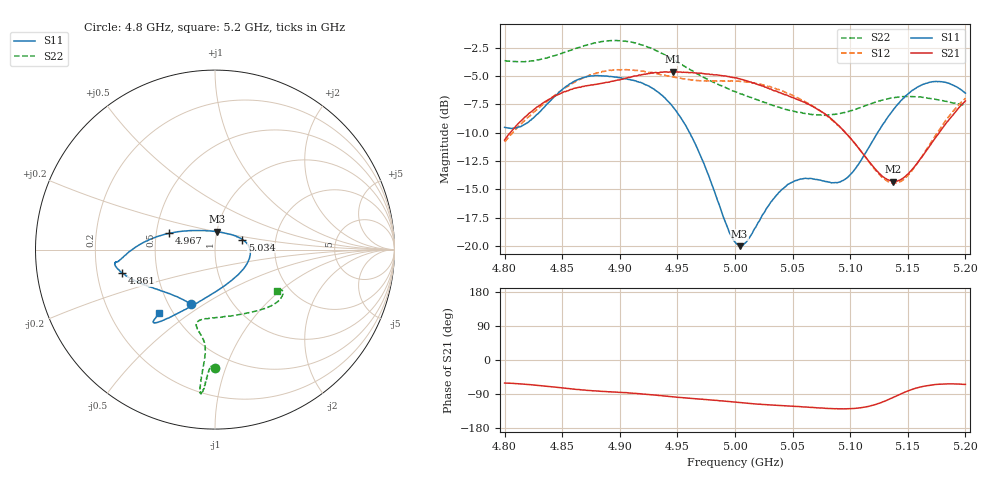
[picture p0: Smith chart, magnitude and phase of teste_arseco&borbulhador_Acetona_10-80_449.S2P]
! Network Analyzer HP8722D
! Hewlett-Packard
! Data name: Linha & Wilkinson
! Saver's name: Rodrigo Anjos
! Comments: Teste da utilização de aquisição
! continua pelo VNA HP8722D
! Time and date: 17/4/2025 18:06
!  Frequency  S11  S21  S12  S22
# HZ  S  MA R 50
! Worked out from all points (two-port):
!   401 points, 4.8 GHz to 5.2 GHz, reference 50 ohm
!   highest |S21| = -4.64 dB at 4.946 GHz (marker M1); lowest = -14.3 dB at 5.137 GHz (marker M2)
!   |S21| within 3 dB of the highest: 4.83 GHz to 5.066 GHz (236.4 MHz wide, 4.78 % of centre); 5.195841 GHz to end of sweep
!   lowest |S11| = -20.0 dB at 5.004 GHz (marker M3), VSWR 1.22, Z = 50 + j10 ohm
!   |S11| at or under -10 dB: 4.961 GHz to 5.124 GHz (163.2 MHz wide, 3.24 % of centre)
!   |S22| runs from -8.5 to -1.9 dB; largest |S21 - S12| = 0.88
!   S11 on the Smith chart (normalised r, x): 4.8 GHz: 0.64, -0.44; 4.861 GHz: 0.31, -0.11; 4.967 GHz: 0.58, +0.11; 5.034 GHz: 1.35, +0.16; 5.2 GHz: 0.42, -0.39
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4.8e9  0.3335 -113.7  0.2932 -60.9  0.2878 -175.0  0.6572 -90.2
4.819e9  0.3478 -133.8  0.3753 -64.3  0.3633 -173.9  0.6533 -91.8
4.861e9  0.5349 -166.0  0.4965 -77.2  0.5277 -176.9  0.7392 -94.2
4.867e9  0.5501 -168.3  0.5045 -79.0  0.5471 -178.1  0.7581 -94.3
4.899e9  0.5528 -172.8  0.5394 -85.3  0.5991 175.3  0.8044 -95.7
4.934e9  0.474 -178.9  0.581 -93.8  0.5744 171.7  0.7168 -96.0
4.946e9  0.4117 175.4  0.5864 -97.1  0.5566 171.8  0.6654 -95.8
4.967e9  0.2712 160.5  0.5787 -102.4  0.5366 174.0  0.5751 -95.4
4.993e9  0.1223 119.8  0.5606 -109.2  0.536 176.0  0.496 -98.1
5e9  0.1039 98.4  0.5516 -111.3  0.5335 176.1  0.4794 -99.5
5.004e9  0.09964 84.5  0.5461 -112.3  0.5322 176.0  0.471 -100.5
5.011e9  0.1059 61.9  0.5336 -114.4  0.5281 175.7  0.4567 -102.1
5.034e9  0.1624 20.3  0.4833 -119.4  0.4976 174.7  0.4154 -103.7
5.05e9  0.1912 4.1  0.4517 -122.0  0.4616 173.9  0.3949 -99.7
5.067e9  0.1979 -14.2  0.4133 -125.0  0.415 173.5  0.3795 -90.7
5.087e9  0.1903 -46.6  0.3506 -128.7  0.3488 173.7  0.3811 -75.3
5.097e9  0.1991 -67.2  0.3113 -128.8  0.3116 174.6  0.39 -67.1
5.134e9  0.3776 -117.1  0.1943 -103.4  0.1907 -156.3  0.4475 -43.0
5.137e9  0.396 -118.9  0.1923 -99.3  0.1891 -151.5  0.4505 -41.7
5.151e9  0.4719 -125.1  0.2095 -80.7  0.2073 -130.1  0.4565 -36.5
5.17e9  0.5288 -129.5  0.2802 -66.0  0.2859 -112.2  0.4471 -32.1
5.2e9  0.4722 -131.1  0.4363 -64.6  0.4484 -106.7  0.4166 -33.6
